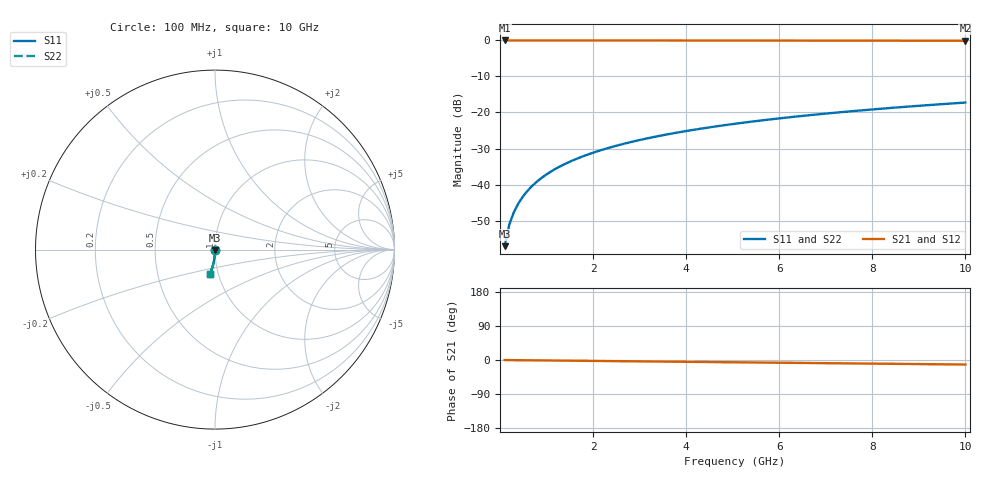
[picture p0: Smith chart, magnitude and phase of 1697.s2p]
# Hz S RI R 50.00
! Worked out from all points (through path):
!   100 points, 100 MHz to 10 GHz, reference 50 ohm
!   highest |S21| = 0.00 dB at 100 MHz (marker M1); lowest = -0.1 dB at 10 GHz (marker M2)
!   group delay of S21, straight-line fit = 3.32 ps
!   lowest |S11| = -57.1 dB at 100 MHz (marker M3), VSWR 1.00, Z = 50 - j0.138 ohm
!   |S11| at or under -10 dB: start of sweep to end of sweep
!   |S22| runs from -57.1 to -17.2 dB; largest |S21 - S12| = 0
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1e8  0.000189 -0.00138  0.9998 -0.00208  0.9998 -0.00208  0.000189 -0.00138
2e8  0.00018 -0.00276  0.9998 -0.00416  0.9998 -0.00416  0.00018 -0.00276
3e8  0.000165 -0.00415  0.9998 -0.00625  0.9998 -0.00625  0.000165 -0.00415
4e8  0.000144 -0.00553  0.9997 -0.00833  0.9997 -0.00833  0.000144 -0.00553
5e8  0.000117 -0.00691  0.9997 -0.0104  0.9997 -0.0104  0.000117 -0.00691
6e8  8.46e-05 -0.00829  0.9997 -0.0125  0.9997 -0.0125  8.46e-05 -0.00829
7e8  4.61e-05 -0.00967  0.9996 -0.0146  0.9996 -0.0146  4.61e-05 -0.00967
8e8  1.76e-06 -0.0111  0.9996 -0.0167  0.9996 -0.0167  1.76e-06 -0.0111
9e8  -4.83e-05 -0.0124  0.9995 -0.0187  0.9995 -0.0187  -4.83e-05 -0.0124
1.1e9  -0.000166 -0.0152  0.9994 -0.0229  0.9994 -0.0229  -0.000166 -0.0152
1.4e9  -0.000386 -0.0193  0.9992 -0.0291  0.9992 -0.0291  -0.000386 -0.0193
1.8e9  -0.000759 -0.0249  0.9988 -0.0375  0.9988 -0.0375  -0.000759 -0.0249
2.1e9  -0.0011 -0.029  0.9984 -0.0437  0.9984 -0.0437  -0.0011 -0.029
2.5e9  -0.00163 -0.0345  0.9978 -0.052  0.9978 -0.052  -0.00163 -0.0345
2.9e9  -0.00226 -0.04  0.9971 -0.0603  0.9971 -0.0603  -0.00226 -0.04
3.4e9  -0.00317 -0.0469  0.9961 -0.0707  0.9961 -0.0707  -0.00317 -0.0469
4.2e9  -0.00493 -0.0578  0.9942 -0.0873  0.9942 -0.0873  -0.00493 -0.0578
5.1e9  -0.00735 -0.07  0.9916 -0.1058  0.9916 -0.1058  -0.00735 -0.07
5.9e9  -0.00988 -0.0808  0.9888 -0.1223  0.9888 -0.1223  -0.00988 -0.0808
6.7e9  -0.0128 -0.0915  0.9857 -0.1386  0.9857 -0.1386  -0.0128 -0.0915
8.4e9  -0.0201 -0.1139  0.9777 -0.173  0.9777 -0.173  -0.0201 -0.1139
1e10  -0.0284 -0.1344  0.9687 -0.2049  0.9687 -0.2049  -0.0284 -0.1344
